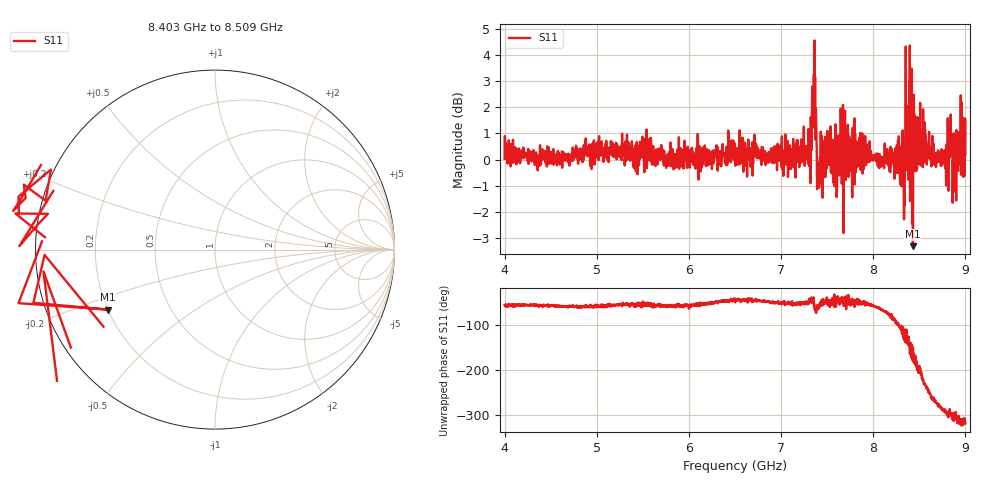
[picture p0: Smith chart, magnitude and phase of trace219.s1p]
! Created with skrf 1.8.0 (http://scikit-rf.org).
# Hz S RI R 50.0
!freq ReS11 ImS11
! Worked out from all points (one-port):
!   1601 points, 4 GHz to 9 GHz, reference 50 ohm
!   lowest |S11| = -3.3 dB at 8.431 GHz (marker M1), VSWR 5.33, Z = 10 - j12.6 ohm
!   |S11| at or under -10 dB: nowhere
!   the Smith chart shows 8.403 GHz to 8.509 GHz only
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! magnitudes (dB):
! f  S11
! 4 GHz  0.0
! 4.625 GHz  -0.3
! 5.25 GHz  0.2
! 5.875 GHz  0.4
! 6.5 GHz  0.1
! 7.125 GHz  0.4
! 7.294 GHz  -0.2
! 7.359 GHz  2.2
! 7.412 GHz  -1.1
! 7.512 GHz  0.0
! 7.591 GHz  1.3
! 7.672 GHz  2.1
! 7.703 GHz  -0.8
! 7.75 GHz  -0.4
! 8.259 GHz  0.4
! 8.316 GHz  0.7
! 8.334 GHz  -2.3
! 8.356 GHz  1.7
! 8.375 GHz  0.5
! 8.431 GHz  -3.3
! 8.447 GHz  1.7
! 8.459 GHz  -0.4
! 8.503 GHz  1.0
! 8.769 GHz  -0.1
! 8.834 GHz  1.4
! 8.903 GHz  1.1
! 8.956 GHz  0.0
! 9 GHz  0.2
